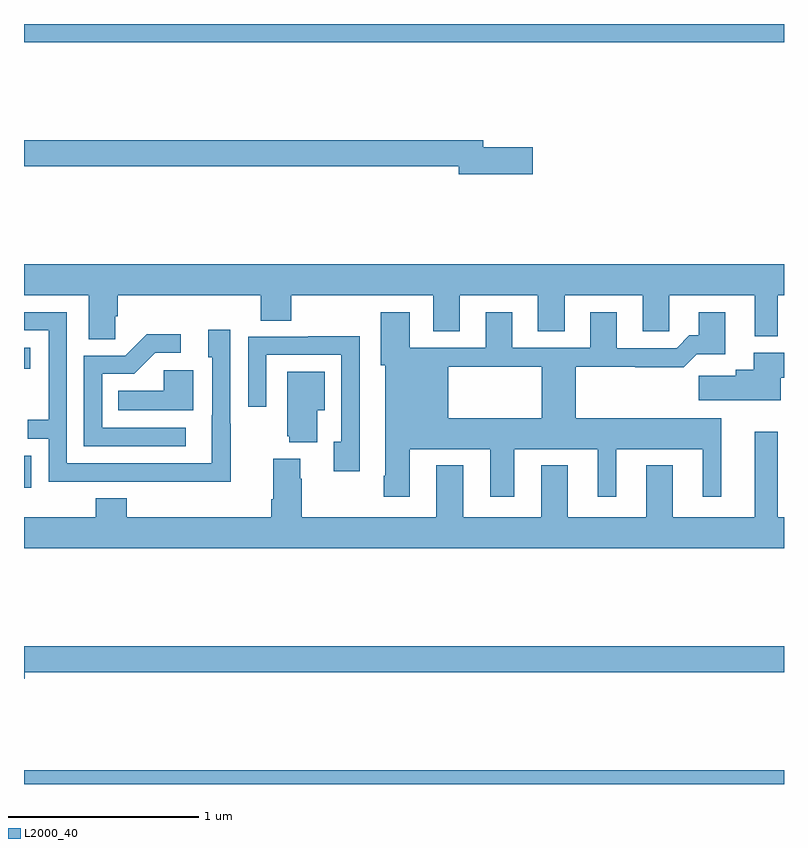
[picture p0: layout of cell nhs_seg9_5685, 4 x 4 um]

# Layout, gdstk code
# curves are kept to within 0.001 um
import gdstk
lib = gdstk.Library(unit=1e-6, precision=1e-09)
def R(c, l, rs):  # rectangles x0, y0, x1, y1
    for r in rs: c.add(gdstk.rectangle(r[:2], r[2:], *l))
def P(c, l, *ps):  # polygons
    for p in ps: c.add(gdstk.Polygon(p, *l))
L2000_40 = (2000, 40)

nhs_seg9_5685 = lib.new_cell('nhs_seg9_5685')
R(nhs_seg9_5685, L2000_40, [(441,1208.5,445,1208.572), (441,1210.059,441.039,1210.227), (441,1210.685,441.034,1210.795), (441,1212.404,445,1212.5)])
P(nhs_seg9_5685, L2000_40, [(443.677,1211.852),(443.416,1211.852),(443.416,1211.888),(441,1211.888),(441,1211.752),(443.288,1211.752),(443.288,1211.71),(443.677,1211.71)],
  [(441.48,1210.963),(441.494,1210.963),(441.494,1211.072),(442.247,1211.072),(442.247,1210.939),(442.407,1210.939),(442.407,1211.072),(443.153,1211.072),(443.153,1210.882),(443.293,1210.882),(443.293,1211.072),(443.705,1211.072),(443.705,1210.882),(443.845,1210.882),(443.845,1211.072),(444.257,1211.072),(444.257,1210.882),(444.396,1210.882),(444.396,1211.072),(444.845,1211.072),(444.845,1210.856),(444.967,1210.856),(444.967,1211.072),(445,1211.072),(445,1211.236),(441,1211.236),(441,1211.072),(441.341,1211.072),(441.341,1210.84),(441.48,1210.84)],
  [(442.894,1210.123),(442.894,1210.011),(443.029,1210.011),(443.029,1210.262),(443.453,1210.262),(443.453,1210.011),(443.581,1210.011),(443.581,1210.262),(444.02,1210.262),(444.02,1210.011),(444.118,1210.011),(444.118,1210.262),(444.572,1210.262),(444.572,1210.011),(444.67,1210.011),(444.67,1210.426),(443.903,1210.426),(443.903,1210.696),(444.217,1210.696),(444.217,1210.694),(444.473,1210.694),(444.542,1210.763),(444.691,1210.763),(444.691,1210.984),(444.551,1210.984),(444.551,1210.861),(444.502,1210.861),(444.435,1210.794),(444.121,1210.794),(444.121,1210.984),(443.981,1210.984),(443.981,1210.797),(443.569,1210.797),(443.569,1210.984),(443.429,1210.984),(443.429,1210.797),(443.029,1210.797),(443.029,1210.984),(442.877,1210.984),(442.877,1210.704),(442.901,1210.704),(442.901,1210.426),(443.233,1210.426),(443.233,1210.696),(443.725,1210.696),(443.725,1210.426),(442.901,1210.426),(442.901,1210.123)],
  [(442.089,1210.397),(442.086,1210.397),(442.086,1210.891),(441.971,1210.891),(441.971,1210.746),(441.99,1210.746),(441.99,1210.442),(441.989,1210.442),(441.989,1210.188),(441.225,1210.188),(441.225,1210.983),(441,1210.983),(441,1210.887),(441.129,1210.887),(441.129,1210.418),(441.019,1210.418),(441.019,1210.317),(441.129,1210.317),(441.129,1210.092),(441.625,1210.092),(441.625,1210.091),(442.089,1210.091)],
  [(441.85,1210.374),(441.411,1210.374),(441.411,1210.659),(441.58,1210.659),(441.691,1210.77),(441.826,1210.77),(441.826,1210.868),(441.647,1210.868),(441.534,1210.755),(441.315,1210.755),(441.315,1210.278),(441.85,1210.278)],
  [(442.768,1210.604),(442.767,1210.604),(442.767,1210.856),(442.495,1210.856),(442.495,1210.854),(442.179,1210.854),(442.179,1210.485),(442.275,1210.485),(442.275,1210.758),(442.671,1210.758),(442.671,1210.302),(442.631,1210.302),(442.631,1210.146),(442.768,1210.146)],
  [(444.982,1210.637),(445,1210.637),(445,1210.771),(444.842,1210.771),(444.842,1210.681),(444.746,1210.681),(444.746,1210.649),(444.552,1210.649),(444.552,1210.52),(444.982,1210.52)],
  [(441.892,1210.678),(441.735,1210.678),(441.735,1210.57),(441.496,1210.57),(441.496,1210.466),(441.892,1210.466)],
  [(442.543,1210.466),(442.582,1210.466),(442.582,1210.669),(442.385,1210.669),(442.385,1210.329),(442.397,1210.329),(442.397,1210.298),(442.543,1210.298)],
  [(445,1209.904),(444.967,1209.904),(444.967,1210.354),(444.845,1210.354),(444.845,1209.904),(444.415,1209.904),(444.415,1210.177),(444.275,1210.177),(444.275,1209.904),(443.863,1209.904),(443.863,1210.177),(443.723,1210.177),(443.723,1209.904),(443.311,1209.904),(443.311,1210.177),(443.171,1210.177),(443.171,1209.904),(442.461,1209.904),(442.461,1210.106),(442.453,1210.106),(442.453,1210.213),(442.313,1210.213),(442.313,1210),(442.301,1210),(442.301,1209.904),(441.542,1209.904),(441.542,1210.003),(441.377,1210.003),(441.377,1209.904),(441,1209.904),(441,1209.74),(445,1209.74)],
  [(441.004,1209.088),(445,1209.088),(445,1209.224),(441,1209.224),(441,1209.053),(441.004,1209.053)])

lib.write_gds('nhs_seg9_5685.gds')
